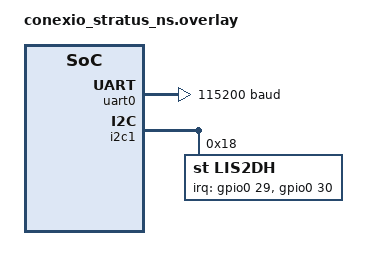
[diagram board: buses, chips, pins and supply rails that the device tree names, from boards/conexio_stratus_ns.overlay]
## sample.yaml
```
sample:
  name: UDP sample
tests:
  samples.nrf9160.udp:
    build_only: true
    platform_allow: nrf9160dk_nrf9160_ns thingy91_nrf9160_ns conexio_stratus_ns
    integration_platforms:
      - nrf9160dk_nrf9160_ns
      - thingy91_nrf9160_ns
      - conexio_stratus_ns
    tags: ci_build
```

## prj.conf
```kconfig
#
# Copyright (c) 2020 Nordic Semiconductor ASA
# Copyright (c) 2022 Conexio Technologies, Inc
# SPDX-License-Identifier: LicenseRef-Nordic-5-Clause
#

# General config
CONFIG_NEWLIB_LIBC=y
CONFIG_NEWLIB_LIBC_FLOAT_PRINTF=y
CONFIG_NCS_SAMPLES_DEFAULTS=y
CONFIG_SERIAL=n

# Network
CONFIG_NETWORKING=y
CONFIG_NET_NATIVE=n
CONFIG_NET_SOCKETS=y
CONFIG_NET_SOCKETS_OFFLOAD=y

# LTE link control
CONFIG_LTE_LINK_CONTROL=y
CONFIG_LTE_AUTO_INIT_AND_CONNECT=n

# Modem library
CONFIG_NRF_MODEM_LIB=y

# Heap and stacks
CONFIG_HEAP_MEM_POOL_SIZE=1024
CONFIG_MAIN_STACK_SIZE=4096
CONFIG_SYSTEM_WORKQUEUE_STACK_SIZE=2048

# LTE parameters
## Network Mode / LTE category
CONFIG_LTE_NETWORK_MODE_LTE_M=y

## PSM
CONFIG_UDP_PSM_ENABLE=y
CONFIG_LTE_PSM_REQ_RPTAU="00100001"
CONFIG_LTE_PSM_REQ_RAT="00000000"

## eDRX
CONFIG_UDP_EDRX_ENABLE=n
CONFIG_LTE_EDRX_REQ_VALUE_LTE_M="1001"

## RAI
CONFIG_UDP_RAI_ENABLE=n
CONFIG_LTE_RAI_REQ_VALUE="4"

# Zephyr Device Power Management
CONFIG_PM=y

CONFIG_GPIO=n
CONFIG_I2C=y

# Add the accelerometer
CONFIG_SENSOR=y
CONFIG_LIS2DH=y

# Enable Zephyr application to be booted by MCUboot
CONFIG_BOOTLOADER_MCUBOOT=y
```

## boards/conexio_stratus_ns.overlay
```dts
/*
 * Copyright (c) 2021 Conexio Technologies, Inc
 *
 * SPDX-License-Identifier: Apache-2.0
 */

 &uart0 {
	status = "okay";
	current-speed = <115200>;
	/delete-property/ rx-pin;
};

&i2c1 {
	lis2dh@18 {
		compatible = "st,lis2dh";
		label = "LIS2DH";
		reg = <0x18>;
		irq-gpios = <&gpio0 29 GPIO_ACTIVE_HIGH>, <&gpio0 30 GPIO_ACTIVE_HIGH>;
		disconnect-sdo-sa0-pull-up;
	};
};
```

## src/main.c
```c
/*
 * Copyright (c) 2020 Nordic Semiconductor ASA
 * Copyright (c) 2022 Conexio Technologies, Inc
 * SPDX-License-Identifier: LicenseRef-Nordic-5-Clause
 */

#include <zephyr.h>
#include <stdio.h>
#include <modem/lte_lc.h>
#include <net/socket.h>

#define UDP_IP_HEADER_SIZE 28

static int client_fd;
static struct sockaddr_storage host_addr;
static struct k_work_delayable server_transmission_work;

K_SEM_DEFINE(lte_connected, 0, 1);

static void server_transmission_work_fn(struct k_work *work)
{
	int err;
	char buffer[CONFIG_UDP_DATA_UPLOAD_SIZE_BYTES] = {"\0"};

	printk("Transmitting UDP/IP payload of %d bytes to the ",
	       CONFIG_UDP_DATA_UPLOAD_SIZE_BYTES + UDP_IP_HEADER_SIZE);
	printk("IP address %s, port number %d\n",
	       CONFIG_UDP_SERVER_ADDRESS_STATIC,
	       CONFIG_UDP_SERVER_PORT);

	err = send(client_fd, buffer, sizeof(buffer), 0);
	if (err < 0) {
		printk("Failed to transmit UDP packet, %d\n", errno);
		return;
	}

	k_work_schedule(&server_transmission_work,
			K_SECONDS(CONFIG_UDP_DATA_UPLOAD_FREQUENCY_SECONDS));
}

static void work_init(void)
{
	k_work_init_delayable(&server_transmission_work,
			      server_transmission_work_fn);
}

#if defined(CONFIG_NRF_MODEM_LIB)
static void lte_handler(const struct lte_lc_evt *const evt)
{
	switch (evt->type) {
	case LTE_LC_EVT_NW_REG_STATUS:
		if ((evt->nw_reg_status != LTE_LC_NW_REG_REGISTERED_HOME) &&
		     (evt->nw_reg_status != LTE_LC_NW_REG_REGISTERED_ROAMING)) {
			break;
		}

		printk("Network registration status: %s\n",
			evt->nw_reg_status == LTE_LC_NW_REG_REGISTERED_HOME ?
			"Connected - home network" : "Connected - roaming\n");
		k_sem_give(&lte_connected);
		break;
	case LTE_LC_EVT_PSM_UPDATE:
		printk("PSM parameter update: TAU: %d, Active time: %d\n",
			evt->psm_cfg.tau, evt->psm_cfg.active_time);
		break;
	case LTE_LC_EVT_EDRX_UPDATE: {
		char log_buf[60];
		ssize_t len;

		len = snprintf(log_buf, sizeof(log_buf),
			       "eDRX parameter update: eDRX: %f, PTW: %f\n",
			       evt->edrx_cfg.edrx, evt->edrx_cfg.ptw);
		if (len > 0) {
			printk("%s\n", log_buf);
		}
		break;
	}
	case LTE_LC_EVT_RRC_UPDATE:
		printk("RRC mode: %s\n",
			evt->rrc_mode == LTE_LC_RRC_MODE_CONNECTED ?
			"Connected" : "Idle\n");
		break;
	case LTE_LC_EVT_CELL_UPDATE:
		printk("LTE cell changed: Cell ID: %d, Tracking area: %d\n",
		       evt->cell.id, evt->cell.tac);
		break;
	default:
		break;
	}
}

static int configure_low_power(void)
{
	int err;

#if defined(CONFIG_UDP_PSM_ENABLE)
	/** Power Saving Mode */
	err = lte_lc_psm_req(true);
	if (err) {
		printk("lte_lc_psm_req, error: %d\n", err);
	}
#else
	err = lte_lc_psm_req(false);
	if (err) {
		printk("lte_lc_psm_req, error: %d\n", err);
	}
#endif

#if defined(CONFIG_UDP_EDRX_ENABLE)
	/** enhanced Discontinuous Reception */
	err = lte_lc_edrx_req(true);
	if (err) {
		printk("lte_lc_edrx_req, error: %d\n", err);
	}
#else
	err = lte_lc_edrx_req(false);
	if (err) {
		printk("lte_lc_edrx_req, error: %d\n", err);
	}
#endif

#if defined(CONFIG_UDP_RAI_ENABLE)
	/** Release Assistance Indication  */
	err = lte_lc_rai_req(true);
	if (err) {
		printk("lte_lc_rai_req, error: %d\n", err);
	}
#endif

	return err;
}

static void modem_init(void)
{
	int err;

	if (IS_ENABLED(CONFIG_LTE_AUTO_INIT_AND_CONNECT)) {
		/* Do nothing, modem is already configured and LTE connected. */
	} else {
		err = lte_lc_init();
		if (err) {
			printk("Modem initialization failed, error: %d\n", err);
			return;
		}
	}
}

static void modem_connect(void)
{
	int err;

	if (IS_ENABLED(CONFIG_LTE_AUTO_INIT_AND_CONNECT)) {
		/* Do nothing, modem is already configured and LTE connected. */
	} else {
		err = lte_lc_connect_async(lte_handler);
		if (err) {
			printk("Connecting to LTE network failed, error: %d\n",
			       err);
			return;
		}
	}
}
#endif

static void server_disconnect(void)
{
	(void)close(client_fd);
}

static int server_init(void)
{
	struct sockaddr_in *server4 = ((struct sockaddr_in *)&host_addr);

	server4->sin_family = AF_INET;
	server4->sin_port = htons(CONFIG_UDP_SERVER_PORT);

	inet_pton(AF_INET, CONFIG_UDP_SERVER_ADDRESS_STATIC,
		  &server4->sin_addr);

	return 0;
}

static int server_connect(void)
{
	int err;

	client_fd = socket(AF_INET, SOCK_DGRAM, IPPROTO_UDP);
	if (client_fd < 0) {
		printk("Failed to create UDP socket: %d\n", errno);
		err = -errno;
		goto error;
	}

	err = connect(client_fd, (struct sockaddr *)&host_addr,
		      sizeof(struct sockaddr_in));
	if (err < 0) {
		printk("Connect failed : %d\n", errno);
		goto error;
	}

	return 0;

error:
	server_disconnect();

	return err;
}

void main(void)
{
	int err;

	printk("UDP sample has started\n");

	work_init();

#if defined(CONFIG_NRF_MODEM_LIB)

	/* Initialize the modem before calling configure_low_power(). This is
	 * because the enabling of RAI is dependent on the
	 * configured network mode which is set during modem initialization.
	 */
	modem_init();

	err = configure_low_power();
	if (err) {
		printk("Unable to set low power configuration, error: %d\n",
		       err);
	}

	modem_connect();

	k_sem_take(&lte_connected, K_FOREVER);
#endif

	err = server_init();
	if (err) {
		printk("Not able to initialize UDP server connection\n");
		return;
	}

	err = server_connect();
	if (err) {
		printk("Not able to connect to UDP server\n");
		return;
	}

	k_work_schedule(&server_transmission_work, K_NO_WAIT);
}
```
